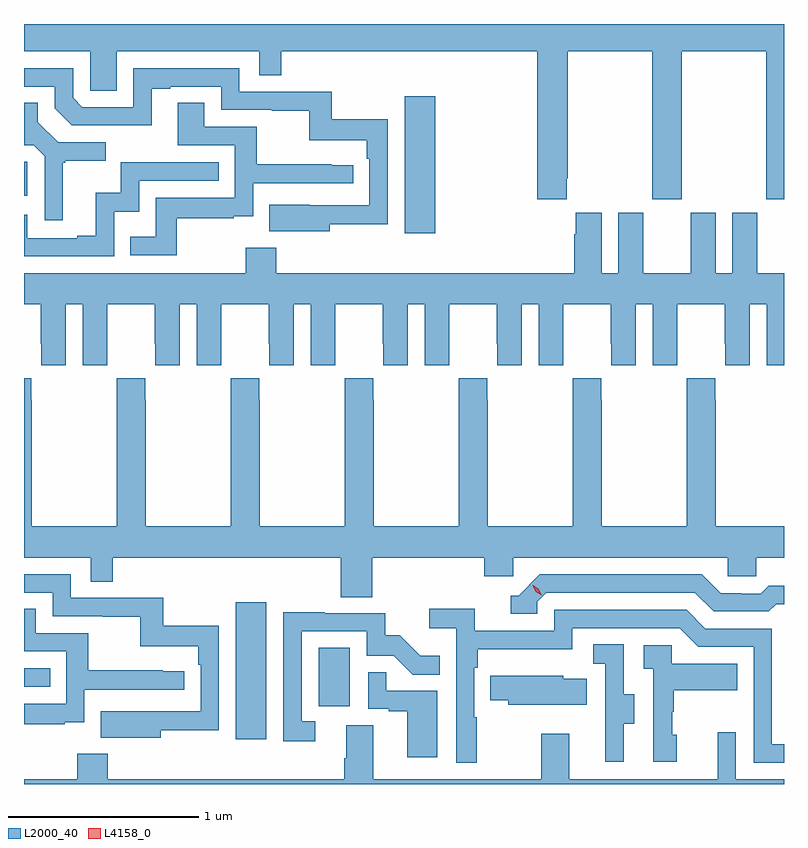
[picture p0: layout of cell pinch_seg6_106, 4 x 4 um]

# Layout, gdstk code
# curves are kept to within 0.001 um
import gdstk
lib = gdstk.Library(unit=1e-6, precision=1e-09)
def R(c, l, rs):  # rectangles x0, y0, x1, y1
    for r in rs: c.add(gdstk.rectangle(r[:2], r[2:], *l))
def P(c, l, *ps):  # polygons
    for p in ps: c.add(gdstk.Polygon(p, *l))
L2000_40 = (2000, 40)
L4158_0 = (4158, 0)

pinch_seg6_106 = lib.new_cell('pinch_seg6_106')
R(pinch_seg6_106, L2000_40, [(911.471,918.408,911.632,919.129), (911.906,918.582,912.07,918.889), (910.356,918.684,910.493,918.78), (912.359,921.072,912.52,921.793), (910.356,921.267,910.374,921.447)])
P(pinch_seg6_106, L2000_40, [(913.213,921.361),(913.218,921.361),(913.218,922.028),(913.663,922.028),(913.663,921.249),(913.818,921.249),(913.818,922.028),(914.263,922.028),(914.263,921.249),(914.356,921.249),(914.356,922.172),(910.356,922.172),(910.356,922.028),(910.704,922.028),(910.704,921.82),(910.843,921.82),(910.843,922.028),(911.595,922.028),(911.595,921.901),(911.711,921.901),(911.711,922.028),(913.058,922.028),(913.058,921.249),(913.213,921.249)],
  [(911.965,921.118),(912.27,921.118),(912.27,921.67),(911.977,921.67),(911.977,921.816),(911.49,921.816),(911.49,921.939),(910.932,921.939),(910.932,921.735),(910.662,921.735),(910.614,921.783),(910.614,921.939),(910.356,921.939),(910.356,921.843),(910.518,921.843),(910.518,921.729),(910.608,921.639),(911.029,921.638),(911.029,921.831),(911.125,921.831),(911.125,921.843),(911.394,921.843),(911.394,921.72),(911.659,921.72),(911.659,921.715),(911.856,921.715),(911.856,921.56),(912.161,921.56),(912.161,921.464),(912.174,921.464),(912.174,921.219),(911.647,921.22),(911.647,921.08),(911.965,921.08)],
  [(910.561,921.441),(910.573,921.441),(910.573,921.452),(910.786,921.452),(910.786,921.549),(910.536,921.549),(910.429,921.656),(910.429,921.758),(910.356,921.758),(910.356,921.534),(910.407,921.534),(910.464,921.477),(910.464,921.138),(910.561,921.138)],
  [(911.161,921.15),(911.459,921.15),(911.459,921.161),(911.562,921.161),(911.562,921.333),(912.088,921.333),(912.088,921.429),(911.975,921.429),(911.975,921.434),(911.582,921.434),(911.582,921.63),(911.305,921.63),(911.305,921.758),(911.165,921.758),(911.165,921.534),(911.466,921.534),(911.466,921.258),(911.05,921.258),(911.05,921.052),(910.915,921.052),(910.915,920.955),(911.161,920.955)],
  [(910.83,921.185),(910.962,921.185),(910.962,921.348),(911.381,921.348),(911.381,921.444),(910.866,921.444),(910.866,921.283),(910.733,921.283),(910.733,921.058),(910.637,921.058),(910.637,921.045),(910.374,921.045),(910.374,921.168),(910.356,921.168),(910.356,920.949),(910.83,920.949)],
  [(910.576,920.696),(910.664,920.696),(910.664,920.376),(910.794,920.376),(910.794,920.488),(910.795,920.488),(910.795,920.696),(911.045,920.696),(911.045,920.488),(911.046,920.488),(911.046,920.376),(911.176,920.376),(911.176,920.696),(911.264,920.696),(911.264,920.376),(911.394,920.376),(911.394,920.488),(911.395,920.488),(911.395,920.696),(911.645,920.696),(911.645,920.488),(911.646,920.488),(911.646,920.376),(911.776,920.376),(911.776,920.696),(911.864,920.696),(911.864,920.376),(911.994,920.376),(911.994,920.488),(911.995,920.488),(911.995,920.696),(912.245,920.696),(912.245,920.488),(912.246,920.488),(912.246,920.376),(912.376,920.376),(912.376,920.696),(912.464,920.696),(912.464,920.376),(912.594,920.376),(912.594,920.488),(912.595,920.488),(912.595,920.696),(912.845,920.696),(912.845,920.488),(912.846,920.488),(912.846,920.376),(912.976,920.376),(912.976,920.696),(913.064,920.696),(913.064,920.376),(913.194,920.376),(913.194,920.488),(913.195,920.488),(913.195,920.696),(913.445,920.696),(913.445,920.488),(913.446,920.488),(913.446,920.376),(913.576,920.376),(913.576,920.696),(913.664,920.696),(913.664,920.376),(913.794,920.376),(913.794,920.488),(913.795,920.488),(913.795,920.696),(914.045,920.696),(914.045,920.488),(914.046,920.488),(914.046,920.376),(914.176,920.376),(914.176,920.696),(914.264,920.696),(914.264,920.376),(914.356,920.376),(914.356,920.86),(914.215,920.86),(914.215,921.178),(914.084,921.178),(914.084,920.86),(913.996,920.86),(913.996,921.178),(913.865,921.178),(913.865,920.86),(913.615,920.86),(913.615,921.178),(913.484,921.178),(913.484,920.86),(913.396,920.86),(913.396,921.178),(913.259,921.178),(913.259,921.065),(913.253,921.065),(913.253,920.86),(911.684,920.86),(911.684,920.995),(911.524,920.995),(911.524,920.86),(910.356,920.86),(910.356,920.696),(910.445,920.696),(910.445,920.488),(910.446,920.488),(910.446,920.376),(910.576,920.376)],
  [(912.188,919.364),(912.779,919.364),(912.779,919.266),(912.93,919.266),(912.93,919.364),(914.061,919.364),(914.061,919.266),(914.211,919.266),(914.211,919.364),(914.356,919.364),(914.356,919.528),(913.998,919.528),(913.998,920.195),(913.995,920.195),(913.995,920.308),(913.845,920.308),(913.845,920.195),(913.843,920.195),(913.843,919.528),(913.398,919.528),(913.398,920.195),(913.395,920.195),(913.395,920.308),(913.245,920.308),(913.245,920.195),(913.243,920.195),(913.243,919.528),(912.798,919.528),(912.798,920.195),(912.795,920.195),(912.795,920.308),(912.645,920.308),(912.645,920.195),(912.643,920.195),(912.643,919.528),(912.198,919.528),(912.198,920.195),(912.195,920.195),(912.195,920.308),(912.045,920.308),(912.045,920.195),(912.043,920.195),(912.043,919.528),(911.598,919.528),(911.598,920.195),(911.595,920.195),(911.595,920.308),(911.445,920.308),(911.445,920.195),(911.443,920.195),(911.443,919.528),(910.998,919.528),(910.998,920.195),(910.995,920.195),(910.995,920.308),(910.845,920.308),(910.845,920.195),(910.843,920.195),(910.843,919.528),(910.398,919.528),(910.398,920.195),(910.395,920.195),(910.395,920.308),(910.356,920.308),(910.356,919.364),(910.707,919.364),(910.707,919.237),(910.823,919.237),(910.823,919.364),(912.023,919.364),(912.023,919.156),(912.188,919.156)],
  [(913.056,919.131),(913.104,919.179),(913.887,919.179),(913.986,919.08),(914.275,919.08),(914.314,919.119),(914.356,919.119),(914.356,919.216),(914.275,919.216),(914.233,919.173),(914.13,919.173),(914.13,919.176),(914.023,919.176),(913.924,919.275),(913.071,919.275),(912.96,919.164),(912.917,919.164),(912.917,919.068),(913.056,919.068)],
  [(911.077,918.454),(911.382,918.454),(911.382,919.006),(911.089,919.006),(911.089,919.152),(910.602,919.152),(910.602,919.275),(910.356,919.275),(910.356,919.179),(910.506,919.179),(910.506,919.056),(910.771,919.056),(910.771,919.051),(910.968,919.051),(910.968,918.896),(911.273,918.896),(911.273,918.8),(911.286,918.8),(911.286,918.555),(910.973,918.555),(910.973,918.556),(910.759,918.556),(910.759,918.416),(911.077,918.416)],
  [(910.571,918.497),(910.674,918.497),(910.674,918.669),(911.2,918.669),(911.2,918.765),(911.087,918.765),(911.087,918.77),(910.694,918.77),(910.694,918.966),(910.417,918.966),(910.417,919.094),(910.356,919.094),(910.356,918.87),(910.578,918.87),(910.578,918.594),(910.356,918.594),(910.356,918.486),(910.571,918.486)],
  [(912.739,918.524),(912.726,918.524),(912.726,918.785),(912.743,918.785),(912.743,918.881),(913.242,918.881),(913.242,918.993),(913.806,918.993),(913.905,918.894),(914.196,918.894),(914.196,918.285),(914.356,918.285),(914.356,918.381),(914.292,918.381),(914.292,918.99),(913.942,918.99),(913.843,919.089),(913.146,919.089),(913.146,918.978),(912.728,918.978),(912.728,919.094),(912.489,919.094),(912.489,918.992),(912.63,918.992),(912.63,918.285),(912.739,918.285)],
  [(911.89,918.501),(911.817,918.501),(911.817,918.975),(912.159,918.975),(912.159,918.846),(912.303,918.846),(912.401,918.748),(912.545,918.748),(912.545,918.847),(912.441,918.847),(912.334,918.954),(912.258,918.954),(912.258,919.071),(911.939,919.071),(911.939,919.076),(911.721,919.076),(911.721,918.396),(911.89,918.396)],
  [(913.513,918.49),(913.567,918.49),(913.567,918.645),(913.512,918.645),(913.512,918.908),(913.353,918.908),(913.353,918.805),(913.416,918.805),(913.416,918.501),(913.415,918.501),(913.415,918.288),(913.513,918.288)],
  [(913.792,918.432),(913.767,918.432),(913.767,918.551),(913.777,918.551),(913.777,918.665),(914.111,918.665),(914.111,918.805),(913.764,918.805),(913.764,918.903),(913.617,918.903),(913.617,918.779),(913.668,918.779),(913.668,918.288),(913.792,918.288)],
  [(912.532,918.663),(912.263,918.663),(912.263,918.761),(912.168,918.761),(912.168,918.567),(912.275,918.567),(912.275,918.555),(912.374,918.555),(912.374,918.312),(912.532,918.312)],
  [(913.319,918.727),(913.194,918.727),(913.194,918.742),(912.922,918.742),(912.922,918.741),(912.811,918.741),(912.811,918.613),(912.905,918.613),(912.905,918.59),(913.319,918.59)],
  [(914.356,918.196),(914.103,918.196),(914.103,918.445),(914.006,918.445),(914.006,918.196),(913.225,918.196),(913.225,918.436),(913.078,918.436),(913.078,918.196),(912.193,918.196),(912.193,918.482),(912.053,918.482),(912.053,918.308),(912.041,918.308),(912.041,918.196),(910.796,918.196),(910.796,918.331),(910.636,918.331),(910.636,918.196),(910.356,918.196),(910.356,918.172),(914.356,918.172)])
P(pinch_seg6_106, L4158_0, [(913.08,919.165),(913.05,919.185),(913.034,919.218),(913.034,919.219),(913.035,919.219),(913.065,919.198),(913.081,919.166),(913.081,919.165)])

lib.write_gds('pinch_seg6_106.gds')
